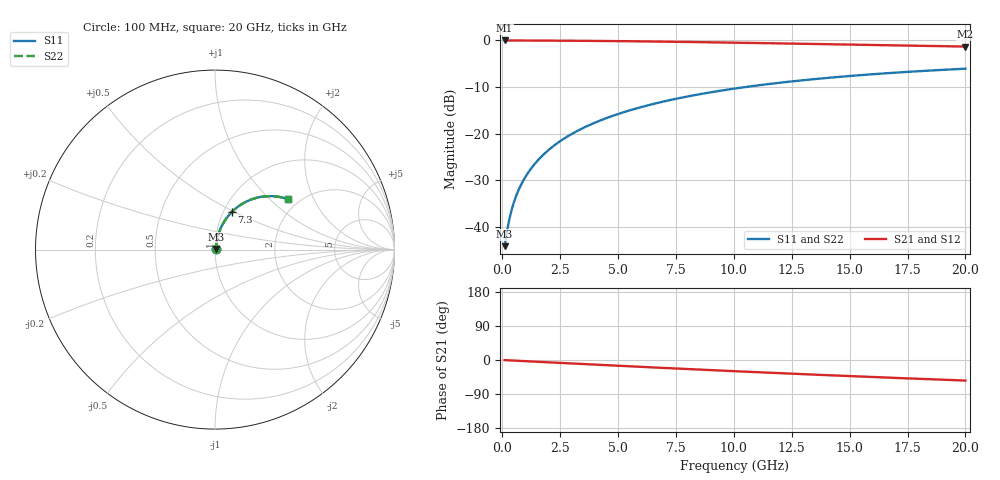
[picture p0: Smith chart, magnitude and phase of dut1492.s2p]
! Touchstone file exported from HFSS 2026.1.0
!  File:  C:/ffzhzh/LocalFiles/Ansys_Project_Files/temp_train_BSMRDL_1492_1783181561_18472.aedt
!  Generated:  12:14:13 AM Jul  5, 2026
!  Design:  BSMRDL
!  Project:  temp_train_BSMRDL_1492_1783181561_18472
! Variables:
!  h_bsmrdl = 2.7um
!  h_ox = 20um
!  h_rdl = 5um
!  h_sub = 80um
!  h_tmrdl = 5um
!  h_tsv = 80um
!  h_via = 3um
!  l_bsmrdl = 805.76um
!  l_sub = 1205.76um
!  l_tmrdl = 200um
!  m_sub = 200um
!  pitch = 52.04um
!  r_tsv = 6um
!  s_tmrdl = 10um
!  w_bsmrdl = 21.67um
!  w_sub = 500um
!  w_tmrdl = 12um
!  x_tsv_center1 = 206um
!  x_tsv_center2 = 1033.43um
!  x_tsv_center3 = 1245.43um
!  x_tsv_center4 = 2072.86um
!  x_tsv_center5 = 2284.86um
!  x_tsv_center6 = 3112.29um
# GHz S MA R 50.000000
! Terminal data exported
! Port[1] = BSM_RDL1_1_T1
! Port[2] = BSM_RDL1_1_T2
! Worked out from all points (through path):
!   200 points, 100 MHz to 20 GHz, reference 50 ohm
!   highest |S21| = -0.04 dB at 100 MHz (marker M1); lowest = -1.4 dB at 20 GHz (marker M2)
!   group delay of S21, straight-line fit = 7.55 ps
!   lowest |S11| = -44.1 dB at 100 MHz (marker M3), VSWR 1.01, Z = 50.5 + j0.363 ohm
!   |S11| at or under -10 dB: start of sweep to 10.53 GHz
!   |S22| runs from -44.1 to -6.1 dB; largest |S21 - S12| = 5.4e-15
!   S11 on the Smith chart (normalised r, x): 100 MHz: 1.01, +0.01; 7.3 GHz: 1.09, +0.49; 20 GHz: 1.77, +1.31
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0.1  0.006225 35.3  0.9949 -0.3  0.9949 -0.3  0.006225 35.3
! Gamma 0 0 0 0
! Port Impedance 50 0 50 0
0.2  0.008881 53.4  0.9948 -0.6  0.9948 -0.6  0.008881 53.4
0.3  0.01196 62.1  0.9945 -1.0  0.9945 -1.0  0.01196 62.1
0.4  0.01514 67.0  0.9943 -1.3  0.9943 -1.3  0.01514 67.0
0.5  0.01834 70.0  0.9941 -1.6  0.9941 -1.6  0.01834 70.0
0.6  0.02155 72.1  0.9938 -1.9  0.9938 -1.9  0.02155 72.1
0.8  0.02796 74.7  0.9935 -2.5  0.9935 -2.5  0.02796 74.7
1.1  0.03762 76.8  0.9929 -3.4  0.9929 -3.4  0.03762 76.8
1.3  0.04409 77.5  0.9926 -4.0  0.9926 -4.0  0.04409 77.5
1.6  0.05382 78.0  0.992 -4.9  0.992 -4.9  0.05382 78.0
2.1  0.07006 78.0  0.9908 -6.5  0.9908 -6.5  0.07006 78.0
2.7  0.08947 77.3  0.989 -8.3  0.989 -8.3  0.08947 77.3
3.5  0.1151 75.7  0.9861 -10.7  0.9861 -10.7  0.1151 75.7
4.2  0.1373 74.1  0.983 -12.8  0.983 -12.8  0.1373 74.1
5  0.1621 72.0  0.9789 -15.2  0.9789 -15.2  0.1621 72.0
6.8  0.2159 67.2  0.9677 -20.4  0.9677 -20.4  0.2159 67.2
7.3  0.2303 65.9  0.9641 -21.9  0.9641 -21.9  0.2303 65.9
8.6  0.2663 62.4  0.9543 -25.6  0.9543 -25.6  0.2663 62.4
10.1  0.3054 58.4  0.9419 -29.7  0.9419 -29.7  0.3054 58.3
13.4  0.3819 49.9  0.9127 -38.4  0.9127 -38.4  0.3818 49.8
16.7  0.445 41.9  0.8832 -46.6  0.8832 -46.6  0.445 41.8
20  0.4958 34.4  0.8558 -54.3  0.8558 -54.3  0.4958 34.3
